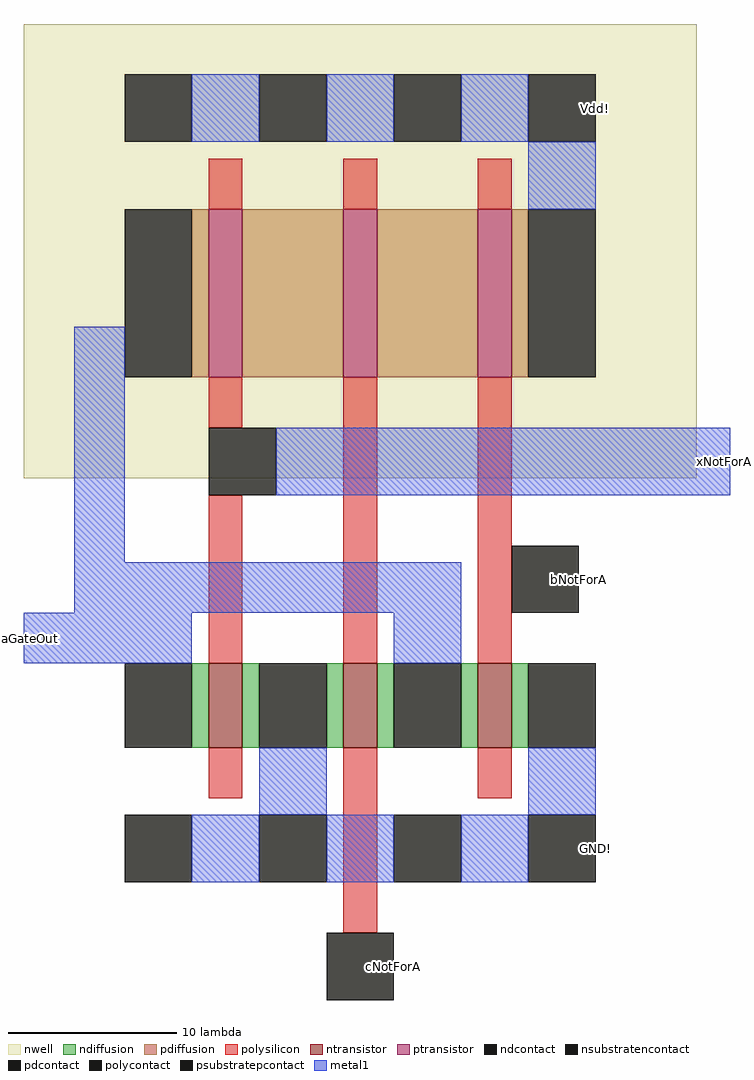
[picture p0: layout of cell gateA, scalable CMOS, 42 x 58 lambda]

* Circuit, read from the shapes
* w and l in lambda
.subckt gateA GND! Vdd! aGateOut bNotForA cNotForA xNotForA
M1 GND! xNotForA aGateOut GND! nfet w=5 l=2
M2 aGateOut cNotForA GND! GND! nfet w=5 l=2
M3 GND! bNotForA aGateOut GND! nfet w=5 l=2
M4 n1 xNotForA aGateOut Vdd! pfet w=10 l=2
M5 n2 cNotForA n1 Vdd! pfet w=10 l=2
M6 Vdd! bNotForA n2 Vdd! pfet w=10 l=2
.ends

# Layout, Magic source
magic
tech scmos
<< nwell >>
rect 73 57 113 84
<< polysilicon >>
rect 84 73 86 76
rect 92 73 94 76
rect 100 73 102 76
rect 84 60 86 63
rect 84 46 86 56
rect 92 46 94 63
rect 100 46 102 63
rect 84 38 86 41
rect 92 30 94 41
rect 100 38 102 41
<< ndiffusion >>
rect 83 41 84 46
rect 86 41 87 46
rect 91 41 92 46
rect 94 41 95 46
rect 99 41 100 46
rect 102 41 103 46
<< pdiffusion >>
rect 83 63 84 73
rect 86 63 92 73
rect 94 63 100 73
rect 102 63 103 73
<< metal1 >>
rect 83 77 87 81
rect 91 77 95 81
rect 99 77 103 81
rect 103 73 107 77
rect 76 52 79 66
rect 88 56 115 60
rect 76 49 99 52
rect 73 46 83 49
rect 95 46 99 49
rect 87 37 91 41
rect 103 37 107 41
rect 83 33 87 37
rect 91 33 95 37
rect 99 33 103 37
<< ntransistor >>
rect 84 41 86 46
rect 92 41 94 46
rect 100 41 102 46
<< ptransistor >>
rect 84 63 86 73
rect 92 63 94 73
rect 100 63 102 73
<< polycontact >>
rect 84 56 88 60
rect 102 49 106 53
rect 91 26 95 30
<< ndcontact >>
rect 79 41 83 46
rect 87 41 91 46
rect 95 41 99 46
rect 103 41 107 46
<< pdcontact >>
rect 79 63 83 73
rect 103 63 107 73
<< psubstratepcontact >>
rect 79 33 83 37
rect 87 33 91 37
rect 95 33 99 37
rect 103 33 107 37
<< nsubstratencontact >>
rect 79 77 83 81
rect 87 77 91 81
rect 95 77 99 81
rect 103 77 107 81
<< labels >>
rlabel nsubstratencontact 107 77 107 81 1 Vdd!
rlabel psubstratepcontact 107 33 107 37 1 GND!
rlabel polycontact 95 26 95 30 1 cNotForA
rlabel metal1 73 46 73 49 1 aGateOut
rlabel metal1 115 56 115 60 1 xNotForA
rlabel polycontact 106 49 106 53 1 bNotForA
<< end >>
